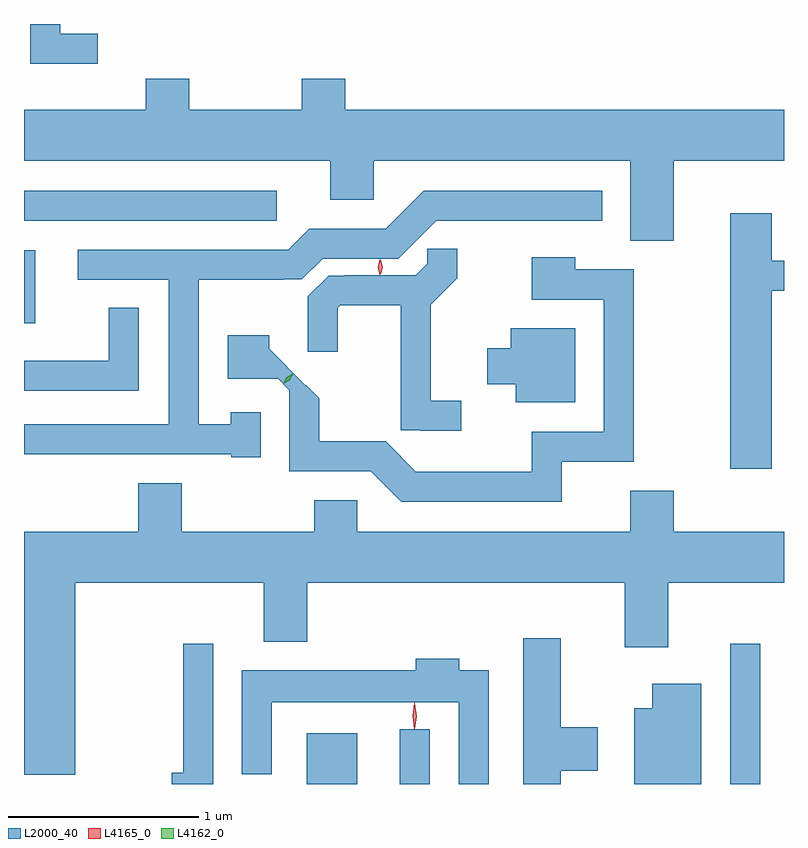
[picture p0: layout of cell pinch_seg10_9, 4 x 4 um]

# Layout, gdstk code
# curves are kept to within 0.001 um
import gdstk
lib = gdstk.Library(unit=1e-6, precision=1e-09)
def R(c, l, rs):  # rectangles x0, y0, x1, y1
    for r in rs: c.add(gdstk.rectangle(r[:2], r[2:], *l))
def P(c, l, *ps):  # polygons
    for p in ps: c.add(gdstk.Polygon(p, *l))
L2000_40 = (2000, 40)
L4162_0 = (4162, 0)
L4165_0 = (4165, 0)

pinch_seg10_9 = lib.new_cell('pinch_seg10_9')
R(pinch_seg10_9, L2000_40, [(850.186,2141.716,850.454,2141.984), (850.676,2141.716,850.834,2142.003), (852.416,2141.716,852.574,2142.453), (848.699,2144.141,848.759,2144.524), (848.699,2144.681,850.028,2144.839)])
P(pinch_seg10_9, L2000_40, [(849.088,2145.664),(848.889,2145.664),(848.889,2145.716),(848.731,2145.716),(848.731,2145.506),(849.088,2145.506)],
  [(852.119,2144.996),(852.699,2144.996),(852.699,2145.264),(850.389,2145.264),(850.389,2145.429),(850.161,2145.429),(850.161,2145.264),(849.569,2145.264),(849.569,2145.429),(849.341,2145.429),(849.341,2145.264),(848.699,2145.264),(848.699,2144.996),(850.311,2144.996),(850.311,2144.791),(850.539,2144.791),(850.539,2144.996),(851.891,2144.996),(851.891,2144.576),(852.119,2144.576)],
  [(849.944,2143.673),(849.786,2143.673),(849.786,2143.609),(849.619,2143.609),(849.619,2144.371),(850.162,2144.372),(850.271,2144.481),(850.669,2144.481),(850.869,2144.681),(851.743,2144.681),(851.743,2144.839),(850.804,2144.839),(850.604,2144.639),(850.199,2144.639),(850.089,2144.529),(848.983,2144.529),(848.983,2144.371),(849.461,2144.371),(849.461,2143.609),(848.699,2143.609),(848.699,2143.451),(849.79,2143.451),(849.79,2143.436),(849.944,2143.436)],
  [(852.634,2144.311),(852.699,2144.311),(852.699,2144.469),(852.634,2144.469),(852.634,2144.719),(852.416,2144.719),(852.416,2143.376),(852.634,2143.376)],
  [(850.999,2143.733),(850.84,2143.733),(850.84,2144.238),(850.98,2144.378),(850.98,2144.534),(850.821,2144.534),(850.821,2144.455),(850.76,2144.393),(850.302,2144.392),(850.192,2144.282),(850.192,2143.992),(850.35,2143.992),(850.35,2144.223),(850.363,2144.235),(850.682,2144.235),(850.682,2143.579),(850.786,2143.579),(850.786,2143.575),(850.999,2143.575)],
  [(851.529,2143.411),(851.909,2143.411),(851.909,2144.424),(851.599,2144.424),(851.599,2144.489),(851.371,2144.489),(851.371,2144.266),(851.751,2144.266),(851.751,2143.569),(851.371,2143.569),(851.371,2143.359),(850.762,2143.359),(850.602,2143.519),(850.254,2143.519),(850.254,2143.745),(850.184,2143.815),(850.182,2143.813),(849.989,2144.006),(849.989,2144.079),(849.771,2144.079),(849.771,2143.848),(850.036,2143.848),(850.094,2143.789),(850.094,2143.683),(850.096,2143.683),(850.096,2143.361),(850.524,2143.361),(850.684,2143.201),(851.529,2143.201)],
  [(849.304,2144.223),(849.146,2144.223),(849.146,2143.944),(848.699,2143.944),(848.699,2143.786),(849.304,2143.786)],
  [(851.599,2144.114),(851.261,2144.114),(851.261,2144.009),(851.136,2144.009),(851.136,2143.821),(851.286,2143.821),(851.286,2143.726),(851.599,2143.726)],
  [(848.969,2142.776),(849.961,2142.776),(849.961,2142.466),(850.189,2142.466),(850.189,2142.776),(851.861,2142.776),(851.861,2142.436),(852.089,2142.436),(852.089,2142.776),(852.699,2142.776),(852.699,2143.044),(852.119,2143.044),(852.119,2143.259),(851.891,2143.259),(851.891,2143.044),(850.454,2143.044),(850.454,2143.209),(850.226,2143.209),(850.226,2143.044),(849.529,2143.044),(849.529,2143.299),(849.301,2143.299),(849.301,2143.044),(848.699,2143.044),(848.699,2142.776),(848.701,2142.776),(848.701,2141.766),(848.969,2141.766)],
  [(851.524,2141.786),(851.719,2141.786),(851.719,2142.014),(851.524,2142.014),(851.524,2142.484),(851.326,2142.484),(851.326,2141.716),(851.524,2141.716)],
  [(849.694,2142.453),(849.536,2142.453),(849.536,2141.774),(849.476,2141.774),(849.476,2141.716),(849.694,2141.716)],
  [(851.144,2142.314),(850.989,2142.314),(850.989,2142.374),(850.761,2142.374),(850.761,2142.314),(849.846,2142.314),(849.846,2141.768),(850.004,2141.768),(850.004,2142.146),(850.986,2142.146),(850.986,2141.716),(851.144,2141.716)],
  [(852.264,2142.244),(852.006,2142.244),(852.006,2142.114),(851.911,2142.114),(851.911,2141.716),(852.264,2141.716)])
P(pinch_seg10_9, L4162_0, [(850.063,2143.822),(850.063,2143.823),(850.082,2143.856),(850.114,2143.875),(850.115,2143.875),(850.115,2143.874),(850.096,2143.841),(850.064,2143.822)],
  [(850.07,2143.826),(850.07,2143.826),(850.083,2143.854),(850.11,2143.869),(850.111,2143.869),(850.111,2143.868),(850.097,2143.84),(850.07,2143.826)])
P(pinch_seg10_9, L4165_0, [(850.571,2144.396),(850.571,2144.396),(850.561,2144.436),(850.571,2144.477),(850.571,2144.477),(850.572,2144.477),(850.581,2144.436),(850.572,2144.396)],
  [(850.754,2142.007),(850.754,2142.008),(850.744,2142.074),(850.754,2142.14),(850.754,2142.14),(850.755,2142.14),(850.764,2142.074),(850.755,2142.008)],
  [(850.576,2144.398),(850.576,2144.398),(850.566,2144.436),(850.576,2144.475),(850.576,2144.475),(850.577,2144.475),(850.586,2144.436),(850.577,2144.398)],
  [(850.754,2142.004),(850.745,2142.073),(850.754,2142.142),(850.755,2142.143),(850.755,2142.142),(850.765,2142.073),(850.755,2142.004),(850.755,2142.004)])

lib.write_gds('pinch_seg10_9.gds')
